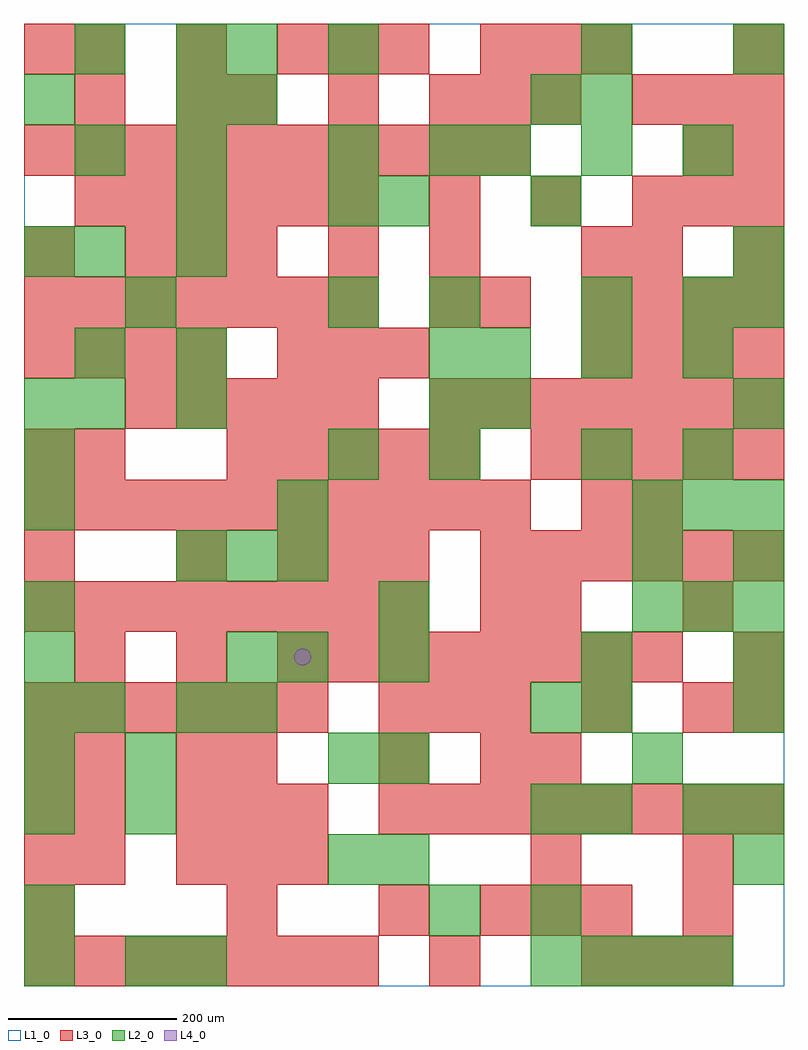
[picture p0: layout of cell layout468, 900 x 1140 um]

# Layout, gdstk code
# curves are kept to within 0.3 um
import gdstk
lib = gdstk.Library(unit=1e-6, precision=1e-09)
def R(c, l, rs):  # rectangles x0, y0, x1, y1
    for r in rs: c.add(gdstk.rectangle(r[:2], r[2:], *l))
def A(c, l, x, y, w, h, nx, ny, dx, dy):  # array of equal rectangles
    R(c, l, [(x+i*dx, y+j*dy, x+i*dx+w, y+j*dy+h) for i in range(nx) for j in range(ny)])
def P(c, l, *ps):  # polygons
    for p in ps: c.add(gdstk.Polygon(p, *l))
L1_0 = (1, 0)
L2_0 = (2, 0)
L3_0 = (3, 0)
L4_0 = (4, 0)

layout468 = lib.new_cell('layout468')
R(layout468, L1_0, [(0,0,900,1140)])
A(layout468, L2_0, 600, 0, 60, 60, 4, 1, 60, 0)
A(layout468, L2_0, 600, 60, 60, 60, 1, 3, 0, 120)
A(layout468, L2_0, 420, 120, 60, 60, 1, 3, 0, 120)
A(layout468, L2_0, 0, 180, 60, 60, 1, 5, 0, 60)
A(layout468, L2_0, 720, 420, 60, 60, 3, 2, 60, 120)
A(layout468, L2_0, 180, 480, 60, 60, 3, 1, 60, 0)
A(layout468, L2_0, 0, 540, 60, 60, 1, 3, 0, 60)
A(layout468, L2_0, 480, 600, 60, 60, 1, 4, 0, 60)
A(layout468, L2_0, 60, 720, 60, 60, 1, 4, 0, 120)
A(layout468, L2_0, 540, 720, 60, 60, 3, 2, 120, 240)
A(layout468, L2_0, 180, 840, 60, 60, 1, 5, 0, 60)
R(layout468, L2_0, [(0,0,60,60), (120,0,180,60), (180,0,240,60), (0,60,60,120), (480,60,540,120), (360,120,420,180), (840,120,900,180), (120,180,180,240), (660,180,720,240), (780,180,840,240), (840,180,900,240), (120,240,180,300), (360,240,420,300), (720,240,780,300), (60,300,120,360), (180,300,240,360), (240,300,300,360), (660,300,720,360), (840,300,900,360), (240,360,300,420), (300,360,360,420), (660,360,720,420), (840,360,900,420), (420,420,480,480), (720,480,780,540), (840,480,900,540), (300,540,360,600), (360,600,420,660), (660,600,720,660), (780,600,840,660), (60,660,120,720), (180,660,240,720), (540,660,600,720), (840,660,900,720), (180,720,240,780), (120,780,180,840), (360,780,420,840), (660,780,720,840), (780,780,840,840), (840,780,900,840), (0,840,60,900), (840,840,900,900), (360,900,420,960), (420,900,480,960), (600,900,660,960), (360,960,420,1020), (480,960,540,1020), (0,1020,60,1080), (240,1020,300,1080), (600,1020,660,1080), (660,1020,720,1080), (240,1080,300,1140), (360,1080,420,1140), (660,1080,720,1140), (840,1080,900,1140)])
A(layout468, L3_0, 0, 0, 60, 60, 7, 2, 60, 780)
A(layout468, L3_0, 660, 0, 60, 60, 3, 1, 60, 0)
A(layout468, L3_0, 0, 60, 60, 60, 1, 4, 0, 60)
A(layout468, L3_0, 540, 60, 60, 60, 3, 2, 60, 1020)
A(layout468, L3_0, 60, 120, 60, 60, 1, 3, 0, 60)
A(layout468, L3_0, 180, 120, 60, 60, 3, 2, 60, 60)
A(layout468, L3_0, 420, 180, 60, 60, 8, 1, 60, 0)
A(layout468, L3_0, 0, 300, 60, 60, 6, 1, 60, 0)
A(layout468, L3_0, 420, 300, 60, 60, 3, 1, 60, 0)
A(layout468, L3_0, 60, 360, 60, 60, 3, 2, 120, 720)
A(layout468, L3_0, 360, 360, 60, 60, 7, 1, 60, 0)
A(layout468, L3_0, 0, 420, 60, 60, 8, 1, 60, 0)
A(layout468, L3_0, 300, 480, 60, 60, 3, 2, 60, 240)
A(layout468, L3_0, 540, 480, 60, 60, 6, 1, 60, 0)
A(layout468, L3_0, 0, 540, 60, 60, 10, 2, 60, 420)
A(layout468, L3_0, 0, 600, 60, 60, 1, 3, 0, 240)
A(layout468, L3_0, 240, 600, 60, 60, 5, 1, 60, 0)
A(layout468, L3_0, 600, 600, 60, 60, 5, 1, 60, 0)
A(layout468, L3_0, 120, 660, 60, 60, 5, 1, 60, 0)
A(layout468, L3_0, 480, 660, 60, 60, 7, 1, 60, 0)
A(layout468, L3_0, 0, 720, 60, 60, 4, 1, 60, 0)
A(layout468, L3_0, 660, 720, 60, 60, 4, 2, 60, 60)
A(layout468, L3_0, 120, 840, 60, 60, 3, 1, 60, 0)
A(layout468, L3_0, 840, 840, 60, 60, 1, 3, 0, 60)
A(layout468, L3_0, 60, 900, 60, 60, 6, 1, 60, 0)
A(layout468, L3_0, 480, 900, 60, 60, 3, 1, 120, 0)
A(layout468, L3_0, 240, 1020, 60, 60, 3, 1, 120, 0)
A(layout468, L3_0, 720, 1020, 60, 60, 3, 1, 60, 0)
R(layout468, L3_0, [(480,0,540,60), (240,60,300,120), (420,60,480,120), (780,60,840,120), (600,120,660,180), (780,120,840,180), (180,240,240,300), (240,240,300,300), (420,240,480,300), (540,240,600,300), (600,240,660,300), (660,300,720,360), (780,300,840,360), (840,300,900,360), (840,360,900,420), (540,420,600,480), (600,420,660,480), (780,420,840,480), (0,480,60,540), (180,480,240,540), (660,540,720,600), (720,540,780,600), (60,600,120,660), (480,780,540,840), (540,780,600,840), (360,840,420,900), (480,840,540,900), (660,840,720,900), (720,840,780,900), (780,900,840,960), (780,960,840,1020), (60,1020,120,1080), (180,1020,240,1080), (540,1020,600,1080), (600,1020,660,1080), (360,1080,420,1140), (420,1080,480,1140), (840,1080,900,1140)])
P(layout468, L4_0, [(340,390),(339.239,393.827),(337.071,397.071),(333.827,399.239),(330,400),(326.173,399.239),(322.929,397.071),(320.761,393.827),(320,390),(320.761,386.173),(322.929,382.929),(326.173,380.761),(330,380),(333.827,380.761),(337.071,382.929),(339.239,386.173)])

lib.write_gds('layout468.gds')
